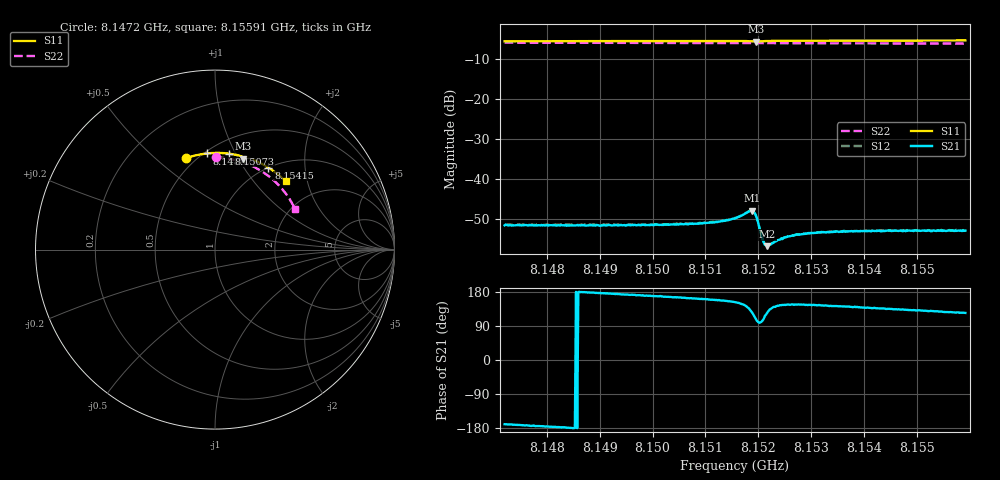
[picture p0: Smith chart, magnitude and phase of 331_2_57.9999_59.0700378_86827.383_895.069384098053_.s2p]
#  HZ  S  RI  R  50.00
! Rohde & Schwarz Vector Network Analyzer
! Rohde-Schwarz,ZNB20-2Port,1311601062101988,3.16
! Created: UTC 3/21/2024, 1:05:06 AM
! freq[Hz]  re:S11  im:S11  re:S21  im:S21  re:S12  im:S12  re:S22  im:S22
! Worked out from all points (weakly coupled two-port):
!   401 points, 8.1472 GHz to 8.15591 GHz, reference 50 ohm
!   highest |S21| = -47.97 dB at 8.15189 GHz (marker M1); lowest = -56.8 dB at 8.15217 GHz (marker M2)
!   lowest |S11| = -5.5 dB at 8.15195 GHz (marker M3), VSWR 3.26, Z = 37.2 + j52.4 ohm
!   |S11| at or under -10 dB: nowhere
!   |S22| runs from -6.0 to -5.8 dB; largest |S21 - S12| = 0.00013
!   S11 on the Smith chart (normalised r, x): 8.1472 GHz: 0.44, +0.63; 8.14897 GHz: 0.52, +0.78; 8.15073 GHz: 0.62, +0.94; 8.15415 GHz: 1.00, +1.30; 8.15591 GHz: 1.36, +1.48
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8.147205e9  -0.1634 0.5087  -0.00258 -0.000483  -0.00265 -0.00042  0.00447 0.5133
8.148663e9  -0.0646 0.533  -0.00263 2.77e-05  -0.00268 7.56e-05  0.0989 0.502
8.148968e9  -0.0434 0.5357  -0.00263 0.00015  -0.00263 0.000173  0.1181 0.4976
8.150122e9  0.0367 0.5381  -0.00259 0.00055  -0.00265 0.00061  0.1888 0.4736
8.150731e9  0.0793 0.5345  -0.00262 0.000791  -0.00262 0.000847  0.2242 0.4569
8.151188e9  0.1111 0.5293  -0.00266 0.00108  -0.00268 0.00114  0.2496 0.4427
8.151559e9  0.1377 0.523  -0.00283 0.00149  -0.00286 0.00155  0.2697 0.43
8.15182e9  0.1562 0.5132  -0.00282 0.0027  -0.00284 0.00276  0.2834 0.4204
8.151885e9  0.1586 0.5088  -0.00226 0.00329  -0.00223 0.00335  0.2866 0.4179
8.151929e9  0.1583 0.5066  -0.00153 0.00344  -0.00149 0.0035  0.2887 0.4163
8.15195e9  0.1576 0.5064  -0.0011 0.00332  -0.00109 0.00337  0.2898 0.4155
8.151994e9  0.1573 0.5075  -0.000525 0.00282  -0.000478 0.00286  0.292 0.414
8.152081e9  0.1616 0.5111  -0.000431 0.00167  -0.000442 0.00169  0.2964 0.4109
8.152125e9  0.1651 0.5119  -0.000664 0.00133  -0.000631 0.00138  0.2987 0.4092
8.152168e9  0.1688 0.512  -0.000822 0.00118  -0.000848 0.00123  0.3009 0.4076
8.152233e9  0.1741 0.5117  -0.00106 0.00108  -0.00106 0.0011  0.3041 0.405
8.152408e9  0.1872 0.5086  -0.00141 0.00101  -0.00144 0.00107  0.3129 0.3981
8.152538e9  0.1963 0.5059  -0.00155 0.00105  -0.00156 0.00106  0.3193 0.3926
8.153017e9  0.2282 0.4935  -0.00172 0.00121  -0.00174 0.00126  0.3419 0.3723
8.154149e9  0.2978 0.457  -0.00162 0.00153  -0.00166 0.00154  0.3893 0.3192
8.154476e9  0.3168 0.4446  -0.00161 0.00159  -0.00159 0.00162  0.4015 0.3029
8.155913e9  0.3928 0.3817  -0.00126 0.00186  -0.00125 0.00188  0.4468 0.2255
